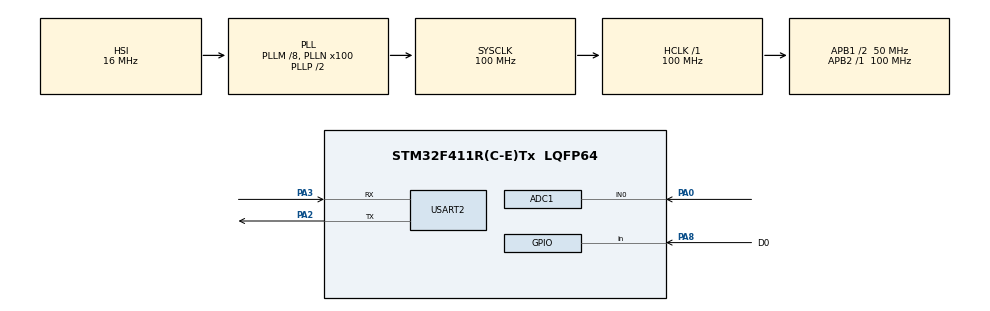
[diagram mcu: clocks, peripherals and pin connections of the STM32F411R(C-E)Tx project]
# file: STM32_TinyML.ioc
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ADC1.Channel-0\#ChannelRegularConversion=ADC_CHANNEL_0
ADC1.NbrOfConversionFlag=1
ADC1.Rank-0\#ChannelRegularConversion=1
ADC1.SamplingTime-0\#ChannelRegularConversion=ADC_SAMPLETIME_3CYCLES
ADC1.master=1
FREERTOS.Tasks01=defaultTask,24,128,StartDefaultTask,Default,NULL,Dynamic,NULL,NULL
Mcu.Family=STM32F4
Mcu.Name=STM32F411R(C-E)Tx
Mcu.Package=LQFP64
NVIC.PriorityGroup=NVIC_PRIORITYGROUP_4
NVIC.TIM1_UP_TIM10_IRQn=true\:15\:0\:false\:false\:true\:false\:false\:true\:true
NVIC.TimeBase=TIM1_UP_TIM10_IRQn
NVIC.TimeBaseIP=TIM1
PA0-WKUP.Signal=ADCx_IN0
PA2.Mode=Asynchronous
PA2.Signal=USART2_TX
PA3.Mode=Asynchronous
PA3.Signal=USART2_RX
PA8.GPIO_Label=D0
PA8.Signal=GPIO_Input
ProjectManager.HeapSize=0x800
ProjectManager.StackSize=0x800
ProjectManager.TargetToolchain=CMake
RCC.48MHZClocksFreq_Value=28571428.57142857
RCC.AHBFreq_Value=100000000
RCC.APB1CLKDivider=RCC_HCLK_DIV2
RCC.APB1Freq_Value=50000000
RCC.APB1TimFreq_Value=100000000
RCC.APB2Freq_Value=100000000
RCC.APB2TimFreq_Value=100000000
RCC.CortexFreq_Value=100000000
RCC.FLatency-AdvancedSettings=FLASH_LATENCY_3
RCC.HCLKFreq_Value=100000000
RCC.HSE_VALUE=25000000
RCC.HSI_VALUE=16000000
RCC.LSE_VALUE=32768
RCC.PLLM=8
RCC.PLLMUL=RCC_PLL_MUL9
RCC.PLLN=100
RCC.PLLQ=7
RCC.RCC_PLLsource_Clock_Source_FROM_HSE=RCC_HSE_PREDIV_DIV2
RCC.SYSCLKFreq_VALUE=100000000
RCC.SYSCLKSource=RCC_SYSCLKSOURCE_PLLCLK
RCC.SYSCLKSourceVirtual=RCC_SYSCLKSOURCE_PLLCLK
RCC.VCOOutputFreq_Value=200000000
SH.ADCx_IN0.0=ADC1_IN0,IN0
STMicroelectronics.X-CUBE-AI.10.2.0.ActivationBufferSizeList=108
STMicroelectronics.X-CUBE-AI.10.2.0.ActivationBuffers=pool0
STMicroelectronics.X-CUBE-AI.10.2.0.ActivationNames=pool0
STMicroelectronics.X-CUBE-AI.10.2.0.ActivationSizes=AI_NETWORK_DATA_ACTIVATION_1_SIZE
STMicroelectronics.X-CUBE-AI.10.2.0.HeapSize=0x800
STMicroelectronics.X-CUBE-AI.10.2.0.InternalRamActivationBufferMaxSize=AI_NETWORK_DATA_ACTIVATIONS_SIZE
STMicroelectronics.X-CUBE-AI.10.2.0.LatestDirectoryUsed-7706e36487f487f879065093aec2d8ee34f070dd5b4927fb6550c14311550923=C\:\\ai
STMicroelectronics.X-CUBE-AI.10.2.0.MaximumNumberOfInputLayer=1
STMicroelectronics.X-CUBE-AI.10.2.0.MaximumNumberOfOutputLayer=1
STMicroelectronics.X-CUBE-AI.10.2.0.MaximumSizeOfInputLayer=1
STMicroelectronics.X-CUBE-AI.10.2.0.MaximumSizeOfOutputLayer=1
STMicroelectronics.X-CUBE-AI.10.2.0.ModelActualCompression-7706e36487f487f879065093aec2d8ee34f070dd5b4927fb6550c14311550923=0.0
STMicroelectronics.X-CUBE-AI.10.2.0.ModelCompression-7706e36487f487f879065093aec2d8ee34f070dd5b4927fb6550c14311550923=None
STMicroelectronics.X-CUBE-AI.10.2.0.ModelFlashOccupation-7706e36487f487f879065093aec2d8ee34f070dd5b4927fb6550c14311550923=15840
STMicroelectronics.X-CUBE-AI.10.2.0.ModelHashList=7706e36487f487f879065093aec2d8ee34f070dd5b4927fb6550c14311550923
STMicroelectronics.X-CUBE-AI.10.2.0.ModelKind-7706e36487f487f879065093aec2d8ee34f070dd5b4927fb6550c14311550923=TFLITE
STMicroelectronics.X-CUBE-AI.10.2.0.ModelMacc-7706e36487f487f879065093aec2d8ee34f070dd5b4927fb6550c14311550923=187
STMicroelectronics.X-CUBE-AI.10.2.0.ModelName-7706e36487f487f879065093aec2d8ee34f070dd5b4927fb6550c14311550923=network
STMicroelectronics.X-CUBE-AI.10.2.0.ModelNameList=network
STMicroelectronics.X-CUBE-AI.10.2.0.ModelRamOccupation-7706e36487f487f879065093aec2d8ee34f070dd5b4927fb6550c14311550923=2548
STMicroelectronics.X-CUBE-AI.10.2.0.ModelStructureFile-7706e36487f487f879065093aec2d8ee34f070dd5b4927fb6550c14311550923=C\:\\ai\\mq3_true_model.tflite
STMicroelectronics.X-CUBE-AI.10.2.0.ModelType-7706e36487f487f879065093aec2d8ee34f070dd5b4927fb6550c14311550923=STM32Cube.AI MCU runtime
STMicroelectronics.X-CUBE-AI.10.2.0.ReadyForCodeGeneration=true
STMicroelectronics.X-CUBE-AI.10.2.0.StackSize=0x800
STMicroelectronics.X-CUBE-AI.10.2.0.WorkingBufferStartAddrList=0xFFFFFFFF
STMicroelectronics.X-CUBE-AI.10.2.0.XAaCUBEAaAICcArtificialOoIntelligenceJjCore=true
STMicroelectronics.X-CUBE-AI.10.2.0.copyWeightToRam=false
STMicroelectronics.X-CUBE-AI.10.2.0.customLayerConfigEnabled=false
STMicroelectronics.X-CUBE-AI.10.2.0.noOnnxIoTranspose=false
STMicroelectronics.X-CUBE-AI.10.2.0.useInputAllocation=true
STMicroelectronics.X-CUBE-AI.10.2.0.useOutputAllocation=true
TIM2.Period=65536-1
TIM2.Prescaler=80-1
USART2.VirtualMode=VM_ASYNC
VP_FREERTOS_VS_CMSIS_V2.Mode=CMSIS_V2
VP_STMicroelectronics.X-CUBE-AI_VS_ArtificialOoIntelligenceJjXAaCUBEAaAI_10.2.0.Mode=ArtificialOoIntelligenceJjXAaCUBEAaAI
VP_SYS_VS_tim1.Mode=TIM1
VP_TIM2_VS_ClockSourceINT.Mode=Internal
board=custom

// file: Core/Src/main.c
/* USER CODE BEGIN Header */
/**
  ******************************************************************************
  * @file           : main.c
  * @brief          : MQ-3 TinyML Anomaly Detector — FreeRTOS
  *
  * Target : STM32F411 (HSI @ 100 MHz)
  * Pins   : PA0 → AO (analog in, ADC1 CH0)
  *          PA8 → DO (digital in, MQ-3 onboard comparator output)
  * Serial : USART2, 115200 8N1
  *
  * AI model : mq3_autoencoder — INT8 quantised, generated by X-Cube-AI
  *   Input  : 8 × float32
  *   Output : 8 × float32 (dequantised)
  *
  * Serial output format:  ADC:<raw>  MSE:<value>  AI:<OK|ANOMALY>  DO:<LOW|HIGH>
  *
  * Threshold calibration:
  *   ANOMALY_THRESHOLD starts at 0.01f.  Watch MSE in clean air ~1 min,
  *   then set to ~3x the highest clean-air MSE you observe.
  ******************************************************************************
  */
/* USER CODE END Header */

#include "main.h"
#include "cmsis_os.h"

/* USER CODE BEGIN Includes */
#include "ai_platform.h"
#include "network.h"
#include "network_data.h"
#include <stdio.h>
#include <string.h>
/* USER CODE END Includes */

ADC_HandleTypeDef hadc1;
TIM_HandleTypeDef htim2;
UART_HandleTypeDef huart2;

/* Definitions for defaultTask */
osThreadId_t defaultTaskHandle;
const osThreadAttr_t defaultTask_attributes = {
  .name       = "defaultTask",
  .stack_size = 512 * 4,          /* 2 KB — needed for floats + snprintf    */
  .priority   = (osPriority_t) osPriorityNormal,
};

/* USER CODE BEGIN PV */

/* ── Anomaly threshold ───────────────────────────────────────────────────────
 * Start at 0.01f.  Watch the MSE column in clean air for ~1 minute, then
 * set this to ~3x the highest clean-air MSE you observe.               */
#define ANOMALY_THRESHOLD   0.01f

#define ADC_MAX             4095.0f
#define WINDOW_SIZE         8       /* must match model input size            */

/* Circular ADC sample buffer */
static uint16_t adc_buf[WINDOW_SIZE] = {0};
static uint32_t buf_head  = 0;
static uint8_t  buf_ready = 0;

/* ── X-Cube-AI ───────────────────────────────────────────────────────────── */
static ai_handle network = AI_HANDLE_NULL;
static ai_u8 activations[AI_NETWORK_DATA_ACTIVATIONS_SIZE] __attribute__((aligned(4)));
static const ai_handle activation_buffers[] = { activations };

/* USER CODE END PV */

void SystemClock_Config(void);
static void MX_GPIO_Init(void);
static void MX_TIM2_Init(void);
static void MX_USART2_UART_Init(void);
static void MX_ADC1_Init(void);
void StartDefaultTask(void *argument);

int main(void)
{

  HAL_Init();

  SystemClock_Config();

  MX_GPIO_Init();
  MX_TIM2_Init();
  MX_USART2_UART_Init();
  MX_ADC1_Init();

  /* USER CODE BEGIN 2 */

  /* Initialise AI network — weights live in Flash, passed as NULL */
  {
    ai_error err = ai_network_create_and_init(&network, activation_buffers, NULL);
    if (err.type != AI_ERROR_NONE)
      Error_Handler();
  }

  /* Startup banner — sent before the scheduler starts */
  {
    const char *boot_msg =
        "\r\n=== MQ-3 TinyML Anomaly Detector (FreeRTOS) ===\r\n"
        "Filling sample buffer...\r\n";
    HAL_UART_Transmit(&huart2, (uint8_t *)boot_msg, strlen(boot_msg), HAL_MAX_DELAY);
  }

  /* USER CODE END 2 */

  /* Init scheduler */
  osKernelInitialize();

  defaultTaskHandle = osThreadNew(StartDefaultTask, NULL, &defaultTask_attributes);

  osKernelStart();

  /* Should never reach here */
  while (1) {}
}

void SystemClock_Config(void)
{
  RCC_OscInitTypeDef RCC_OscInitStruct = {0};
  RCC_ClkInitTypeDef RCC_ClkInitStruct = {0};

  __HAL_RCC_PWR_CLK_ENABLE();
  __HAL_PWR_VOLTAGESCALING_CONFIG(PWR_REGULATOR_VOLTAGE_SCALE1);

  RCC_OscInitStruct.OscillatorType      = RCC_OSCILLATORTYPE_HSI;
  RCC_OscInitStruct.HSIState            = RCC_HSI_ON;
  RCC_OscInitStruct.HSICalibrationValue = RCC_HSICALIBRATION_DEFAULT;
  RCC_OscInitStruct.PLL.PLLState        = RCC_PLL_ON;
  RCC_OscInitStruct.PLL.PLLSource       = RCC_PLLSOURCE_HSI;
  RCC_OscInitStruct.PLL.PLLM            = 8;
  RCC_OscInitStruct.PLL.PLLN            = 100;
  RCC_OscInitStruct.PLL.PLLP            = RCC_PLLP_DIV2;
  RCC_OscInitStruct.PLL.PLLQ            = 7;
  if (HAL_RCC_OscConfig(&RCC_OscInitStruct) != HAL_OK) Error_Handler();

  RCC_ClkInitStruct.ClockType      = RCC_CLOCKTYPE_HCLK | RCC_CLOCKTYPE_SYSCLK
                                   | RCC_CLOCKTYPE_PCLK1 | RCC_CLOCKTYPE_PCLK2;
  RCC_ClkInitStruct.SYSCLKSource   = RCC_SYSCLKSOURCE_PLLCLK;
  RCC_ClkInitStruct.AHBCLKDivider  = RCC_SYSCLK_DIV1;
  RCC_ClkInitStruct.APB1CLKDivider = RCC_HCLK_DIV2;
  RCC_ClkInitStruct.APB2CLKDivider = RCC_HCLK_DIV1;
  if (HAL_RCC_ClockConfig(&RCC_ClkInitStruct, FLASH_LATENCY_3) != HAL_OK) Error_Handler();
}

static void MX_ADC1_Init(void)
{

  ADC_ChannelConfTypeDef sConfig = {0};

  hadc1.Instance                   = ADC1;
  hadc1.Init.ClockPrescaler        = ADC_CLOCK_SYNC_PCLK_DIV4;
  hadc1.Init.Resolution            = ADC_RESOLUTION_12B;
  hadc1.Init.ScanConvMode          = DISABLE;
  hadc1.Init.ContinuousConvMode    = DISABLE;
  hadc1.Init.DiscontinuousConvMode = DISABLE;
  hadc1.Init.ExternalTrigConvEdge  = ADC_EXTERNALTRIGCONVEDGE_NONE;
  hadc1.Init.ExternalTrigConv      = ADC_SOFTWARE_START;
  hadc1.Init.DataAlign             = ADC_DATAALIGN_RIGHT;
  hadc1.Init.NbrOfConversion       = 1;
  hadc1.Init.DMAContinuousRequests = DISABLE;
  hadc1.Init.EOCSelection          = ADC_EOC_SINGLE_CONV;
  if (HAL_ADC_Init(&hadc1) != HAL_OK) Error_Handler();

  sConfig.Channel      = ADC_CHANNEL_0;
  sConfig.Rank         = 1;
  sConfig.SamplingTime = ADC_SAMPLETIME_3CYCLES;
  if (HAL_ADC_ConfigChannel(&hadc1, &sConfig) != HAL_OK) Error_Handler();

}

static void MX_TIM2_Init(void)
{

  TIM_ClockConfigTypeDef  sClockSourceConfig = {0};
  TIM_MasterConfigTypeDef sMasterConfig      = {0};

  htim2.Instance               = TIM2;
  htim2.Init.Prescaler         = 80 - 1;
  htim2.Init.CounterMode       = TIM_COUNTERMODE_UP;
  htim2.Init.Period            = 65536 - 1;
  htim2.Init.ClockDivision     = TIM_CLOCKDIVISION_DIV1;
  htim2.Init.AutoReloadPreload = TIM_AUTORELOAD_PRELOAD_DISABLE;
  if (HAL_TIM_Base_Init(&htim2) != HAL_OK) Error_Handler();

  sClockSourceConfig.ClockSource = TIM_CLOCKSOURCE_INTERNAL;
  if (HAL_TIM_ConfigClockSource(&htim2, &sClockSourceConfig) != HAL_OK) Error_Handler();

  sMasterConfig.MasterOutputTrigger = TIM_TRGO_RESET;
  sMasterConfig.MasterSlaveMode     = TIM_MASTERSLAVEMODE_DISABLE;
  if (HAL_TIMEx_MasterConfigSynchronization(&htim2, &sMasterConfig) != HAL_OK) Error_Handler();

}

static void MX_USART2_UART_Init(void)
{

  huart2.Instance          = USART2;
  huart2.Init.BaudRate     = 115200;
  huart2.Init.WordLength   = UART_WORDLENGTH_8B;
  huart2.Init.StopBits     = UART_STOPBITS_1;
  huart2.Init.Parity       = UART_PARITY_NONE;
  huart2.Init.Mode         = UART_MODE_TX_RX;
  huart2.Init.HwFlowCtl    = UART_HWCONTROL_NONE;
  huart2.Init.OverSampling = UART_OVERSAMPLING_16;
  if (HAL_UART_Init(&huart2) != HAL_OK) Error_Handler();

}

static void MX_GPIO_Init(void)
{
  GPIO_InitTypeDef GPIO_InitStruct = {0};

  __HAL_RCC_GPIOA_CLK_ENABLE();

  /* PA8 — digital input, reads DO from MQ-3 onboard comparator */
  GPIO_InitStruct.Pin   = D0_Pin;
  GPIO_InitStruct.Mode  = GPIO_MODE_INPUT;
  GPIO_InitStruct.Pull  = GPIO_NOPULL;
  HAL_GPIO_Init(D0_GPIO_Port, &GPIO_InitStruct);

}

/* USER CODE BEGIN Header_StartDefaultTask */
/**
  * @brief  Main sensor + inference loop, runs as the FreeRTOS default task.
  */
/* USER CODE END Header_StartDefaultTask */
void StartDefaultTask(void *argument)
{
  /* USER CODE BEGIN 5 */
  for (;;)
  {
    /* ── Step 1: Sample ADC into circular buffer ──────────────────────── */
    HAL_ADC_Start(&hadc1);
    HAL_ADC_PollForConversion(&hadc1, HAL_MAX_DELAY);
    adc_buf[buf_head % WINDOW_SIZE] = (uint16_t)HAL_ADC_GetValue(&hadc1);
    buf_head++;

    /* Wait until buffer fully populated to avoid zero-pad MSE */
    if (buf_head < WINDOW_SIZE)
    {
      osDelay(100);
      continue;
    }

    if (!buf_ready)
    {
      buf_ready = 1;
      const char *rdy = "Buffer full — inference active\r\n";
      HAL_UART_Transmit(&huart2, (uint8_t *)rdy, strlen(rdy), HAL_MAX_DELAY);
    }

    /* ── Step 2: Build 8-element feature vector ───────────────────────
     *   [0..3]  last 4 normalised readings, newest first
     *   [4]     window mean
     *   [5]     window max
     *   [6]     window min
     *   [7]     delta = newest - oldest
     * After buf_head++, (buf_head % WINDOW_SIZE) is the OLDEST slot.  */
    float features[WINDOW_SIZE];
    float recon[WINDOW_SIZE];

    features[0] = adc_buf[(buf_head - 1u) % WINDOW_SIZE] / ADC_MAX;
    features[1] = adc_buf[(buf_head - 2u) % WINDOW_SIZE] / ADC_MAX;
    features[2] = adc_buf[(buf_head - 3u) % WINDOW_SIZE] / ADC_MAX;
    features[3] = adc_buf[(buf_head - 4u) % WINDOW_SIZE] / ADC_MAX;

    float sum = 0.0f, mx = 0.0f, mn = 1.0f;
    for (int i = 0; i < WINDOW_SIZE; i++)
    {
      float v = adc_buf[i] / ADC_MAX;
      sum += v;
      if (v > mx) mx = v;
      if (v < mn) mn = v;
    }
    features[4] = sum / (float)WINDOW_SIZE;
    features[5] = mx;
    features[6] = mn;
    features[7] = features[0] - (adc_buf[buf_head % WINDOW_SIZE] / ADC_MAX);

    /* ── Step 3: Run AI inference ─────────────────────────────────────── */
    ai_buffer *ai_input  = ai_network_inputs_get(network, NULL);
    ai_buffer *ai_output = ai_network_outputs_get(network, NULL);
    ai_input->data  = AI_HANDLE_PTR(features);
    ai_output->data = AI_HANDLE_PTR(recon);

    ai_i32 n_batch = ai_network_run(network, ai_input, ai_output);
    if (n_batch <= 0)
    {
      ai_error err = ai_network_get_error(network);
      char errmsg[64];
      int  elen = snprintf(errmsg, sizeof(errmsg),
                           "AI ERR type:%d code:%d\r\n", err.type, err.code);
      HAL_UART_Transmit(&huart2, (uint8_t *)errmsg, (uint16_t)elen, HAL_MAX_DELAY);
      osDelay(100);
      continue;
    }

    /* ── Step 4: Compute MSE reconstruction error ─────────────────────
     * X-Cube-AI dequantises INT8 output to float32, so recon[] is in
     * the same [0,1] space as features[].                              */
    float mse = 0.0f;
    for (int i = 0; i < WINDOW_SIZE; i++)
    {
      float diff = features[i] - recon[i];
      mse += diff * diff;
    }
    mse /= (float)WINDOW_SIZE;

    /* ── Step 5: Read DO pin (PA8) ────────────────────────────────────── */
    GPIO_PinState do_pin = HAL_GPIO_ReadPin(D0_GPIO_Port, D0_Pin);

    /* ── Step 6: UART log ─────────────────────────────────────────────── */
    char msg[96];
    int  len = snprintf(msg, sizeof(msg),
                        "ADC:%4u  MSE:%.6f  AI:%s  DO:%s\r\n",
                        adc_buf[(buf_head - 1u) % WINDOW_SIZE],
                        (double)mse,
                        (mse > ANOMALY_THRESHOLD) ? "ANOMALY" : "OK",
                        (do_pin == GPIO_PIN_SET)   ? "HIGH"    : "LOW");
    HAL_UART_Transmit(&huart2, (uint8_t *)msg, (uint16_t)len, HAL_MAX_DELAY);

    /* ── Step 7: 100 ms sample period ────────────────────────────────── */
    osDelay(100);
  }
  /* USER CODE END 5 */
}

void HAL_TIM_PeriodElapsedCallback(TIM_HandleTypeDef *htim)
{
  if (htim->Instance == TIM1) HAL_IncTick();
}

/**
  * @brief  Error handler — disable interrupts and halt
  */
void Error_Handler(void)
{
  __disable_irq();
  while (1) {}
}
